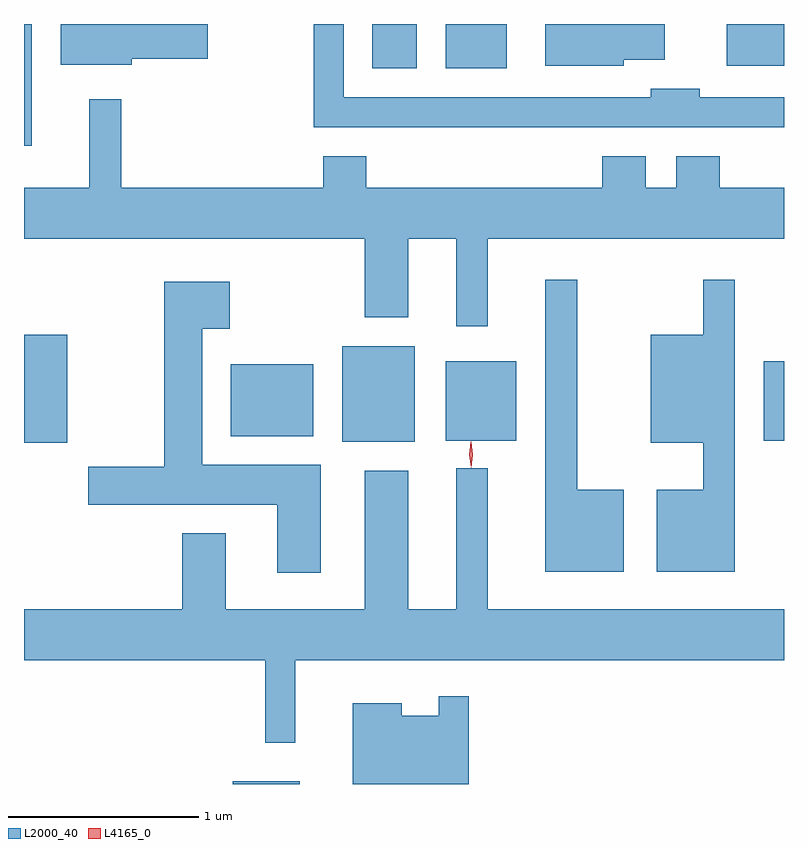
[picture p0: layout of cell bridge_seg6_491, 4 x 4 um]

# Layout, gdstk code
import gdstk
lib = gdstk.Library(unit=1e-6, precision=1e-09)
def R(c, l, rs):  # rectangles x0, y0, x1, y1
    for r in rs: c.add(gdstk.rectangle(r[:2], r[2:], *l))
def P(c, l, *ps):  # polygons
    for p in ps: c.add(gdstk.Polygon(p, *l))
L2000_40 = (2000, 40)
L4165_0 = (4165, 0)

bridge_seg6_491 = lib.new_cell('bridge_seg6_491')
R(bridge_seg6_491, L2000_40, [(966.386,1593.785,966.739,1593.799), (965.287,1595.581,965.514,1596.149), (966.961,1595.586,967.344,1596.089), (967.506,1595.591,967.879,1596.009), (969.181,1595.591,969.287,1596.009), (966.376,1595.616,966.809,1595.994), (965.287,1597.143,965.329,1597.785), (967.121,1597.551,967.354,1597.785), (967.506,1597.551,967.829,1597.785), (968.986,1597.566,969.287,1597.785)])
P(bridge_seg6_491, L2000_40, [(968.444,1597.596),(968.659,1597.596),(968.659,1597.785),(968.031,1597.785),(968.031,1597.566),(968.444,1597.566)],
  [(969.287,1597.399),(968.844,1597.399),(968.844,1597.444),(968.586,1597.444),(968.586,1597.399),(966.969,1597.399),(966.969,1597.785),(966.811,1597.785),(966.811,1597.241),(969.287,1597.241)],
  [(965.854,1597.601),(966.254,1597.601),(966.254,1597.785),(965.481,1597.785),(965.481,1597.571),(965.854,1597.571)],
  [(967.089,1597.089),(966.861,1597.089),(966.861,1596.924),(965.799,1596.924),(965.799,1597.388),(965.631,1597.388),(965.631,1596.924),(965.287,1596.924),(965.287,1596.656),(967.081,1596.656),(967.081,1596.241),(967.309,1596.241),(967.309,1596.656),(967.561,1596.656),(967.561,1596.193),(967.729,1596.193),(967.729,1596.656),(969.287,1596.656),(969.287,1596.924),(968.949,1596.924),(968.949,1597.089),(968.721,1597.089),(968.721,1596.924),(968.559,1596.924),(968.559,1597.089),(968.331,1597.089),(968.331,1596.924),(967.089,1596.924)],
  [(968.444,1595.334),(968.199,1595.334),(968.199,1596.438),(968.031,1596.438),(968.031,1594.901),(968.444,1594.901)],
  [(969.029,1596.438),(968.861,1596.438),(968.861,1596.149),(968.586,1596.149),(968.586,1595.581),(968.861,1595.581),(968.861,1595.334),(968.616,1595.334),(968.616,1594.901),(969.029,1594.901)],
  [(966.849,1595.464),(966.224,1595.464),(966.224,1596.181),(966.369,1596.181),(966.369,1596.429),(966.026,1596.429),(966.026,1595.454),(965.626,1595.454),(965.626,1595.256),(966.621,1595.256),(966.621,1594.896),(966.849,1594.896)],
  [(966.714,1594.436),(969.287,1594.436),(969.287,1594.704),(967.729,1594.704),(967.729,1595.448),(967.561,1595.448),(967.561,1594.704),(967.309,1594.704),(967.309,1595.434),(967.081,1595.434),(967.081,1594.704),(966.349,1594.704),(966.349,1595.104),(966.121,1595.104),(966.121,1594.704),(965.287,1594.704),(965.287,1594.436),(966.556,1594.436),(966.556,1594.003),(966.714,1594.003)],
  [(967.629,1594.248),(967.471,1594.248),(967.471,1594.144),(967.274,1594.144),(967.274,1594.209),(967.016,1594.209),(967.016,1593.785),(967.629,1593.785)])
P(bridge_seg6_491, L4165_0, [(967.641,1595.449),(967.64,1595.45),(967.63,1595.518),(967.639,1595.586),(967.64,1595.586),(967.64,1595.586),(967.65,1595.518),(967.641,1595.45)],
  [(967.64,1595.453),(967.63,1595.517),(967.639,1595.581),(967.64,1595.582),(967.64,1595.581),(967.65,1595.517),(967.641,1595.453),(967.641,1595.453)])

lib.write_gds('bridge_seg6_491.gds')
